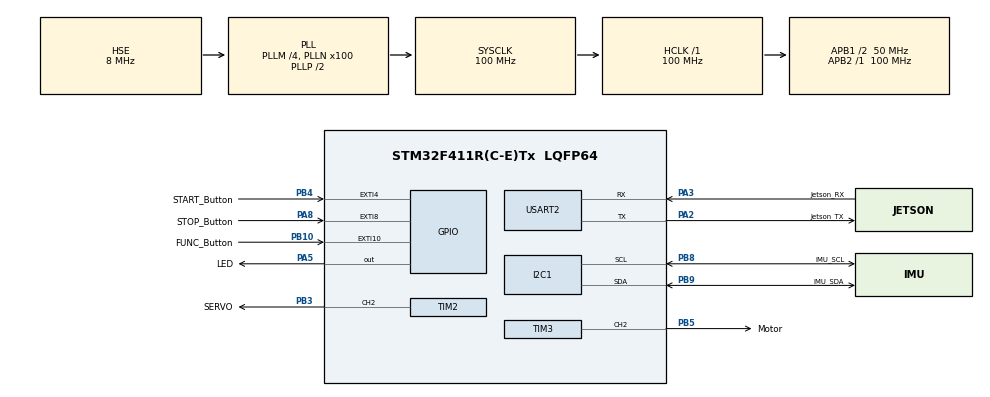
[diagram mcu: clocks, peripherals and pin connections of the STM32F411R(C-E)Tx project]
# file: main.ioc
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Dma.Request0=USART2_RX
Dma.USART2_RX.0.Direction=DMA_PERIPH_TO_MEMORY
Dma.USART2_RX.0.FIFOMode=DMA_FIFOMODE_DISABLE
Dma.USART2_RX.0.Instance=DMA1_Stream5
Dma.USART2_RX.0.MemDataAlignment=DMA_MDATAALIGN_BYTE
Dma.USART2_RX.0.MemInc=DMA_MINC_ENABLE
Dma.USART2_RX.0.Mode=DMA_CIRCULAR
Dma.USART2_RX.0.PeriphDataAlignment=DMA_PDATAALIGN_BYTE
Dma.USART2_RX.0.PeriphInc=DMA_PINC_DISABLE
Dma.USART2_RX.0.Priority=DMA_PRIORITY_HIGH
I2C1.I2C_Mode=I2C_Fast
Mcu.Family=STM32F4
Mcu.Name=STM32F411R(C-E)Tx
Mcu.Package=LQFP64
NVIC.DMA1_Stream5_IRQn=true\:0\:0\:false\:false\:true\:false\:true\:true
NVIC.EXTI15_10_IRQn=true\:0\:0\:false\:false\:true\:true\:true\:true
NVIC.EXTI4_IRQn=true\:0\:0\:false\:false\:true\:true\:true\:true
NVIC.EXTI9_5_IRQn=true\:0\:0\:false\:false\:true\:true\:true\:true
NVIC.PriorityGroup=NVIC_PRIORITYGROUP_4
NVIC.TIM1_UP_TIM10_IRQn=true\:0\:0\:false\:false\:true\:true\:true\:true
NVIC.USART2_IRQn=true\:0\:0\:false\:false\:true\:true\:true\:true
PA2.GPIO_Label=Jetson_TX
PA2.Mode=Asynchronous
PA2.Signal=USART2_TX
PA3.GPIO_Label=Jetson_RX
PA3.GPIO_PuPd=GPIO_PULLUP
PA3.Mode=Asynchronous
PA3.Signal=USART2_RX
PA5.GPIO_Label=LED
PA5.Signal=GPIO_Output
PA8.GPIO_Label=STOP_Button
PA8.GPIO_PuPd=GPIO_PULLUP
PA8.Signal=GPXTI8
PB10.GPIO_Label=FUNC_Button
PB10.GPIO_PuPd=GPIO_PULLUP
PB10.Signal=GPXTI10
PB3.GPIO_Label=SERVO
PB3.GPIO_PuPd=GPIO_PULLUP
PB3.GPIO_Speed=GPIO_SPEED_FREQ_HIGH
PB3.Signal=S_TIM2_CH2
PB4.GPIO_Label=START_Button
PB4.GPIO_PuPd=GPIO_PULLUP
PB4.Signal=GPXTI4
PB5.GPIO_Label=Motor
PB5.GPIO_Speed=GPIO_SPEED_FREQ_VERY_HIGH
PB5.Signal=S_TIM3_CH2
PB8.GPIO_Label=IMU_SCL
PB8.Mode=I2C
PB8.Signal=I2C1_SCL
PB9.GPIO_Label=IMU_SDA
PB9.Mode=I2C
PB9.Signal=I2C1_SDA
PH0\ -\ OSC_IN.Mode=HSE-External-Oscillator
PH0\ -\ OSC_IN.Signal=RCC_OSC_IN
PH1\ -\ OSC_OUT.Mode=HSE-External-Oscillator
PH1\ -\ OSC_OUT.Signal=RCC_OSC_OUT
ProjectManager.HeapSize=0x200
ProjectManager.StackSize=0x400
ProjectManager.TargetToolchain=STM32CubeIDE
RCC.48MHZClocksFreq_Value=50000000
RCC.AHBFreq_Value=100000000
RCC.APB1CLKDivider=RCC_HCLK_DIV2
RCC.APB1Freq_Value=50000000
RCC.APB1TimFreq_Value=100000000
RCC.APB2Freq_Value=100000000
RCC.APB2TimFreq_Value=100000000
RCC.CortexFreq_Value=100000000
RCC.HCLKFreq_Value=100000000
RCC.HSE_VALUE=8000000
RCC.HSI_VALUE=16000000
RCC.LSE_VALUE=32768
RCC.PLLM=4
RCC.PLLN=100
RCC.PLLSourceVirtual=RCC_PLLSOURCE_HSE
RCC.SYSCLKFreq_VALUE=100000000
RCC.SYSCLKSource=RCC_SYSCLKSOURCE_PLLCLK
RCC.VCOOutputFreq_Value=200000000
SH.S_TIM2_CH2.0=TIM2_CH2,PWM Generation2 CH2
SH.S_TIM3_CH2.0=TIM3_CH2,PWM Generation2 CH2
TIM1.Period=2000-1
TIM1.Prescaler=1000-1
TIM2.Channel-PWM\ Generation2\ CH2=TIM_CHANNEL_2
TIM2.Period=1000-1
TIM2.Prescaler=2000-1
TIM3.Channel-PWM\ Generation2\ CH2=TIM_CHANNEL_2
TIM3.Period=1000-1
TIM3.Prescaler=1000-1
USART2.VirtualMode=VM_ASYNC
VP_TIM1_VS_ClockSourceINT.Mode=Internal
VP_TIM2_VS_ClockSourceINT.Mode=Internal
VP_TIM3_VS_ClockSourceINT.Mode=Internal
board=custom

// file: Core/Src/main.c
/* USER CODE BEGIN Header */
/**
  ******************************************************************************
  * @file           : main.c
  * @brief          : Main program body
  ******************************************************************************
  * @attention
  *
  * Copyright (c) 2024 STMicroelectronics.
  * All rights reserved.
  *
  * This software is licensed under terms that can be found in the LICENSE file
  * in the root directory of this software component.
  * If no LICENSE file comes with this software, it is provided AS-IS.
  *
  ******************************************************************************
  */
/* USER CODE END Header */
#include "main.h"
#include "dma.h"
#include "i2c.h"
#include "tim.h"
#include "usart.h"
#include "gpio.h"

/* USER CODE BEGIN Includes */
#include "stdio.h"
#include "stdbool.h"
#include "string.h"
/******* HARDWARE *******/
#include "ESC/esc.h"
#include "SERVO/servo.h"
#include "IMU/bno055_stm32.h"

/******* SOFTWARE *******/
#include "CONTROLLER/ute_ai.h"
#include "FUNCTIONS/math_functions.h"
#include "LOG/log.h"

/* USER CODE END Includes */

/* USER CODE BEGIN PM */
esc Esc;
servo Servo;
/* USER CODE END PM */

/* USER CODE BEGIN PV */
uint8_t rxdata[4] = {0, 0, 0, 0};
uint8_t data[20];
int16_t receive_speed;
int8_t receive_angle;
uint8_t flag_button=0;
extern DMA_HandleTypeDef hdma_usart2_rx;
bno055_vector_t v;
/* USER CODE END PV */

void SystemClock_Config(void);

int main(void)
{

  /* MCU Configuration--------------------------------------------------------*/

  /* Reset of all peripherals, Initializes the Flash interface and the Systick. */
  HAL_Init();

  /* Configure the system clock */
  SystemClock_Config();

  /* Initialize all configured peripherals */
  MX_GPIO_Init();
  MX_DMA_Init();
  MX_TIM1_Init();
  MX_TIM2_Init();
  MX_TIM3_Init();
  MX_USART2_UART_Init();
  MX_I2C1_Init();
  /* USER CODE BEGIN 2 */
	/*************** ESC ***************/
	ESC_Init(&Esc, 100, -10, 25);
//	TIM3->CCR2 = 100;

	/************** SERVO **************/
	SERVO_Init(&Servo, 75, -25, 25);
//	TIM2->CCR2 = 90;

	/*************** IMU ***************/
	  bno055_assignI2C(&hi2c1);
	  bno055_setup();
	  bno055_setOperationModeNDOF();

	/************** TIMER **************/
	HAL_TIM_Base_Start_IT(&htim1);

	/************** COMMUNICATION **************/
	while (HAL_UARTEx_ReceiveToIdle_DMA(&huart2, rxdata, 4) != HAL_OK) HAL_UART_DMAStop(&huart2);
	__HAL_DMA_DISABLE_IT(&hdma_usart2_rx, DMA_IT_HT);
	log_Init(&huart2);

  /* USER CODE END 2 */

  /* Infinite loop */
  /* USER CODE BEGIN WHILE */
  while (1)
  {

	    HAL_Delay(100);
    /* USER CODE END WHILE */

  }
}

void SystemClock_Config(void)
{
  RCC_OscInitTypeDef RCC_OscInitStruct = {0};
  RCC_ClkInitTypeDef RCC_ClkInitStruct = {0};

  /** Configure the main internal regulator output voltage
  */
  __HAL_RCC_PWR_CLK_ENABLE();
  __HAL_PWR_VOLTAGESCALING_CONFIG(PWR_REGULATOR_VOLTAGE_SCALE1);

  /** Initializes the RCC Oscillators according to the specified parameters
  * in the RCC_OscInitTypeDef structure.
  */
  RCC_OscInitStruct.OscillatorType = RCC_OSCILLATORTYPE_HSE;
  RCC_OscInitStruct.HSEState = RCC_HSE_ON;
  RCC_OscInitStruct.PLL.PLLState = RCC_PLL_ON;
  RCC_OscInitStruct.PLL.PLLSource = RCC_PLLSOURCE_HSE;
  RCC_OscInitStruct.PLL.PLLM = 4;
  RCC_OscInitStruct.PLL.PLLN = 100;
  RCC_OscInitStruct.PLL.PLLP = RCC_PLLP_DIV2;
  RCC_OscInitStruct.PLL.PLLQ = 4;
  if (HAL_RCC_OscConfig(&RCC_OscInitStruct) != HAL_OK)
  {
    Error_Handler();
  }

  /** Initializes the CPU, AHB and APB buses clocks
  */
  RCC_ClkInitStruct.ClockType = RCC_CLOCKTYPE_HCLK|RCC_CLOCKTYPE_SYSCLK
                              |RCC_CLOCKTYPE_PCLK1|RCC_CLOCKTYPE_PCLK2;
  RCC_ClkInitStruct.SYSCLKSource = RCC_SYSCLKSOURCE_PLLCLK;
  RCC_ClkInitStruct.AHBCLKDivider = RCC_SYSCLK_DIV1;
  RCC_ClkInitStruct.APB1CLKDivider = RCC_HCLK_DIV2;
  RCC_ClkInitStruct.APB2CLKDivider = RCC_HCLK_DIV1;

  if (HAL_RCC_ClockConfig(&RCC_ClkInitStruct, FLASH_LATENCY_3) != HAL_OK)
  {
    Error_Handler();
  }
}

/* USER CODE BEGIN 4 */
void HAL_UART_TxCpltCallback(UART_HandleTypeDef *huart){
	log_TransmitCompleteHandle(huart);
}

uint16_t i = 100;

/*********************************************************/
void HAL_TIM_PeriodElapsedCallback(TIM_HandleTypeDef *htim) {
  if (htim->Instance == TIM1) {
		HAL_GPIO_TogglePin(LED_GPIO_Port, LED_Pin);

		/************ UART Transmit ***********/
		v = bno055_getVectorEuler();
		data[0] = (uint8_t)v.x;
		data[1] = (uint8_t)v.y;
		data[2] = (uint8_t)v.z;
		log_AddArgumentToBuffer_float((float)v.x);
		log_AddArgumentToBuffer_float((float)v.y);
		log_AddArgumentToBuffer_float((float)v.z);
		log_SendString();

		HAL_UART_Transmit(&huart2, data, 50, 1000);

		/************* SETUP ESC *************/
//		TIM3->CCR2 = i;
//		// Tang
//		if (i<=105) i+=1;
			// Giam
//		if (i>=100) i-=1;
		/*************************************/

		/************* Control *************/
//		Run(&Esc, &Servo, -10, 0);
		if (flag_button == 0) Run(&Esc, &Servo, 0, 0); // Speed, Angle
		else Run(&Esc, &Servo, receive_speed, receive_angle);  // Run(&Esc, &Servo, -10, 0); // Speed, Angle
		}
}

/*********************************************************/
void HAL_UARTEx_RxEventCallback(UART_HandleTypeDef *huart, uint16_t Size) {
  if (huart->Instance == USART2) {
	  while (HAL_UARTEx_ReceiveToIdle_DMA(&huart2, rxdata, 4) != HAL_OK) HAL_UART_DMAStop(&huart2);
    __HAL_DMA_DISABLE_IT(&hdma_usart2_rx, DMA_IT_HT);
		if (Size == 4) {
			if (rxdata[3] == 25) {
				receive_speed = ((int16_t)rxdata[1]<<8)|rxdata[0];
				receive_angle = rxdata[2];
			}
			else {
				receive_speed = 0;
				receive_angle = 0;
			}

			/**** CHECK DATA ****/
//			if (receive_speed == 100 && receive_angle == 0) HAL_GPIO_WritePin(LED_GPIO_Port, LED_Pin, GPIO_PIN_SET);
//			else HAL_GPIO_WritePin(LED_GPIO_Port, LED_Pin, GPIO_PIN_RESET);
		}
  }
}

/*********************************************************/
void HAL_UART_ErrorCallback(UART_HandleTypeDef *huart) {
  if (huart->Instance == USART2) {
		while (HAL_UARTEx_ReceiveToIdle_DMA(&huart2, rxdata, 4) != HAL_OK) HAL_UART_DMAStop(&huart2);
    __HAL_DMA_DISABLE_IT(&hdma_usart2_rx, DMA_IT_HT);
	}
}

/************************SETUP ESC************************/
uint16_t setup_pwm;
void HAL_GPIO_EXTI_Callback(uint16_t GPIO_Pin)
{
	if (GPIO_Pin == STOP_Button_Pin) {
		flag_button=0;
//		setup_pwm = 65; //65 (100Hz) - 35 (50Hz)
//		TIM3->CCR2 = setup_pwm;
	}
	else if (GPIO_Pin == FUNC_Button_Pin) {
		flag_button=1;
//		setup_pwm = 100; // 150 (100Hz) - 75 (50Hz)
//		TIM3->CCR2 = setup_pwm;
	}
	else if (GPIO_Pin == START_Button_Pin) {
		flag_button=2;
//		setup_pwm = 235; // 235 (100Hz) - 115 (50Hz)
//		TIM3->CCR2 = setup_pwm;
	}
}

/* USER CODE END 4 */

void Error_Handler(void)
{
  __disable_irq();
  while (1)
  {
  }
}
